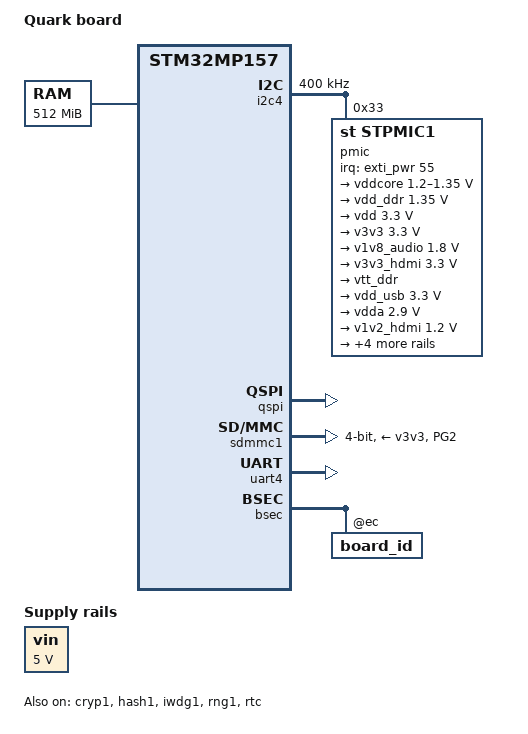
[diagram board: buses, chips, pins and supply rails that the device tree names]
// SPDX-License-Identifier: (GPL-2.0-or-later OR BSD-3-Clause)
/*
 * Copyright (C) 2026, STMicroelectronics - All Rights Reserved
 * Author: STM32CubeMX code generation for STMicroelectronics.
 */

/* For more information on Device Tree configuration, please refer to
 * https://wiki.st.com/stm32mpu/wiki/Category:Device_tree_configuration
 */

/dts-v1/;

#include <dt-bindings/pinctrl/stm32-pinfunc.h>
#include <dt-bindings/clock/stm32mp1-clksrc.h>
#include "stm32mp15-mx.dtsi"

#include "stm32mp157.dtsi"
#include "stm32mp15xc.dtsi"
#include "stm32mp15xxac-pinctrl.dtsi"
#include "stm32mp15-ddr.dtsi"

/* USER CODE BEGIN includes */
#include "stm32mp15-pinctrl.dtsi"
/* USER CODE END includes */

/ {
	model = "Quark board";
	compatible = "st,stm32mp157c-cube-mx", "st,stm32mp157";

	memory@c0000000 {
		device_type = "memory";
		reg = <0xc0000000 0x20000000>;

		/* USER CODE BEGIN memory */
		/* USER CODE END memory */
	};

	/* USER CODE BEGIN root */

	aliases{
		serial0 = &uart4;
		serial1 = &usart3;
		serial2 = &uart7;
		serial3 = &usart2;
	};

	vin:vin{
		compatible = "regulator-fixed";
		regulator-name = "vin";
		regulator-min-microvolt = <5000000>;
		regulator-max-microvolt = <5000000>;
		regulator-always-on;
	};

	chosen{
		stdout-path = "serial0:115200n8";
	};

	/* USER CODE END root */

	clocks {
		/* USER CODE BEGIN clocks */
		/* USER CODE END clocks */

		clk_hsi: clk-hsi {
			clock-frequency = <64000000>;

			/* USER CODE BEGIN clk_hsi */
			/* USER CODE END clk_hsi */
		};
		clk_lse: clk-lse {
			clock-frequency = <32768>;
			st,drive = < LSEDRV_MEDIUM_HIGH >;

			/* USER CODE BEGIN clk_lse */
			/* USER CODE END clk_lse */
		};
		clk_hse: clk-hse {
			clock-frequency = <24000000>;
			st,css;
			st,digbypass;

			/* USER CODE BEGIN clk_hse */
			/* USER CODE END clk_hse */
		};
	};

}; /*root*/

&pinctrl {
	/* USER CODE BEGIN pinctrl */
	rcc_pins_mx: rcc_mx-0 {
		pins {
			pinmux = <STM32_PINMUX('G', 2, AF1)>; /* RCC_MCO_2 */
			bias-disable;
			drive-push-pull;
			slew-rate = <0>;
		};
	};
	/* USER CODE END pinctrl */
};

&cryp1 {
	status = "okay";

	/* USER CODE BEGIN cryp1 */
	/* USER CODE END cryp1 */
};

&hash1 {
	status = "okay";

	/* USER CODE BEGIN hash1 */
	/* USER CODE END hash1 */
};

&i2c4 {
	pinctrl-names = "default";
	pinctrl-0 = <&i2c4_pins_a>;
	status = "okay";

	/* USER CODE BEGIN i2c4 */
	i2c-scl-rising-time-ns = <185>;
	i2c-scl-falling-time-ns = <20>;
	clock-frequency = <400000>;

	pmic: stpmic@33 {
		compatible = "st,stpmic1";
		reg = <0x33>;
		interrupts-extended = <&exti_pwr 55 IRQ_TYPE_EDGE_FALLING>;
		interrupt-controller;
		#interrupt-cells = <2>;
		status = "okay";

		regulators {
			compatible = "st,stpmic1-regulators";
			buck1-supply = <&vin>;
			buck2-supply = <&vin>;
			buck3-supply = <&vin>;
			buck4-supply = <&vin>;
			ldo1-supply = <&v3v3>;
			ldo2-supply = <&vin>;
			ldo3-supply = <&vdd_ddr>;
			ldo4-supply = <&vin>;
			ldo5-supply = <&vin>;
			ldo6-supply = <&v3v3>;
			vref_ddr-supply = <&vin>;
			boost-supply = <&vin>;
			pwr_sw1-supply = <&bst_out>;
			pwr_sw2-supply = <&bst_out>;

			vddcore: buck1 {
				regulator-name = "vddcore";
				regulator-min-microvolt = <1200000>;
				regulator-max-microvolt = <1350000>;
				regulator-always-on;
				regulator-initial-mode = <0>;
				regulator-over-current-protection;
			};

			vdd_ddr: buck2 {
				regulator-name = "vdd_ddr";
				regulator-min-microvolt = <1350000>;
				regulator-max-microvolt = <1350000>;
				regulator-always-on;
				regulator-initial-mode = <0>;
				regulator-over-current-protection;
			};

			vdd: buck3 {
				regulator-name = "vdd";
				regulator-min-microvolt = <3300000>;
				regulator-max-microvolt = <3300000>;
				regulator-always-on;
				st,mask-reset;
				regulator-initial-mode = <0>;
				regulator-over-current-protection;
			};

			v3v3: buck4 {
				regulator-name = "v3v3";
				regulator-min-microvolt = <3300000>;
				regulator-max-microvolt = <3300000>;
				regulator-always-on;
				regulator-over-current-protection;
				regulator-initial-mode = <0>;
			};

			v1v8_audio: ldo1 {
				regulator-name = "v1v8_audio";
				regulator-min-microvolt = <1800000>;
				regulator-max-microvolt = <1800000>;
				regulator-always-on;
			};

			v3v3_hdmi: ldo2 {
				regulator-name = "v3v3_hdmi";
				regulator-min-microvolt = <3300000>;
				regulator-max-microvolt = <3300000>;
				regulator-always-on;
			};

			vtt_ddr: ldo3 {
				regulator-name = "vtt_ddr";
				regulator-always-on;
				regulator-over-current-protection;
				st,regulator-sink-source;
			};

			vdd_usb: ldo4 {
				regulator-name = "vdd_usb";
				regulator-min-microvolt = <3300000>;
				regulator-max-microvolt = <3300000>;
			};

			vdda: ldo5 {
				regulator-name = "vdda";
				regulator-min-microvolt = <2900000>;
				regulator-max-microvolt = <2900000>;
				regulator-boot-on;
			};

			v1v2_hdmi: ldo6 {
				regulator-name = "v1v2_hdmi";
				regulator-min-microvolt = <1200000>;
				regulator-max-microvolt = <1200000>;
				regulator-always-on;
			};

			vref_ddr: vref_ddr {
				regulator-name = "vref_ddr";
				regulator-always-on;
			};

			bst_out: boost {
				regulator-name = "bst_out";
			};

			vbus_otg: pwr_sw1 {
				regulator-name = "vbus_otg";
			};

			vbus_sw: pwr_sw2 {
				regulator-name = "vbus_sw";
				regulator-active-discharge = <1>;
			};
		};
	};

	/* USER CODE END i2c4 */
};

&iwdg1 {
	status = "okay";

	/* USER CODE BEGIN iwdg1 */
	timeout-sec = <32>;

	/* USER CODE END iwdg1 */
};

&qspi {
	pinctrl-names = "default";
	pinctrl-0 = <&qspi_bk1_pins_a &qspi_bk2_pins_a
		&qspi_clk_pins_a
		&qspi_cs1_pins_a &qspi_cs2_pins_a>;
	status = "okay";

	/* USER CODE BEGIN qspi */
	/* USER CODE END qspi */
};

&rcc {
	status = "okay";
	/* USER CODE BEGIN rcc */
	compatible = "st,stm32mp1-rcc-secure", "st,stm32mp1-rcc", "syscon";

	/* USER CODE END rcc */
	st,clksrc = <
		CLK_CKPER_DISABLED
		CLK_QSPI_ACLK
		CLK_SDMMC12_PLL4P
		CLK_STGEN_HSE
		CLK_I2C46_HSI
		CLK_UART24_HSI
		CLK_MPU_PLL1P
		CLK_AXI_PLL2P
		CLK_MCU_PLL3P
		CLK_RTC_LSE
		CLK_MCO1_DISABLED
		CLK_MCO2_PLL4
	>;
	st,clkdiv = <
		DIV(DIV_MPU, 1)
		DIV(DIV_AXI, 0)
		DIV(DIV_MCU, 0)
		DIV(DIV_APB1, 1)
		DIV(DIV_APB2, 1)
		DIV(DIV_APB3, 1)
		DIV(DIV_APB4, 1)
		DIV(DIV_APB5, 2)
		DIV(DIV_RTC, 23)
		DIV(DIV_MCO1, 0)
		DIV(DIV_MCO2, 1)
	>;
	st,pll_vco {
		pll1_vco_1300Mhz: pll1-vco-1300Mhz {
			src = < CLK_PLL12_HSE >;
			divmn = < 2 80 >;
			frac = < 0x800 >;
		};
		pll2_vco_1066Mhz: pll2-vco-1066Mhz {
			src = < CLK_PLL12_HSE >;
			divmn = < 2 65 >;
			frac = < 0x1400 >;
		};
		pll3_vco_416Mhz: pll3-vco-416Mhz {
			src = < CLK_PLL3_HSE >;
			divmn = < 5 103 >;
		};
		pll4_vco_600Mhz: pll4-vco-600Mhz {
			src = < CLK_PLL4_HSE >;
			divmn = < 3 99 >;
		};
		/* USER CODE BEGIN rcc_st-pll_vco */
		/* USER CODE END rcc_st-pll_vco */
	};

	pll1:st,pll@0 {
		compatible = "st,stm32mp1-pll";
		reg = <0>;

		st,pll = < &pll1_cfg1 >;

		pll1_cfg1: pll1_cfg1 {
			st,pll_vco = < &pll1_vco_1300Mhz >;
			st,pll_div_pqr = < 0 1 1 >;
		};
		/* USER CODE BEGIN pll1 */
		/* USER CODE END pll1 */
	};

	pll2:st,pll@1 {
		compatible = "st,stm32mp1-pll";
		reg = <1>;

		st,pll = < &pll2_cfg1 >;

		pll2_cfg1: pll2_cfg1 {
			st,pll_vco = < &pll2_vco_1066Mhz >;
			st,pll_div_pqr = < 1 0 0 >;
		};
		/* USER CODE BEGIN pll2 */
		/* USER CODE END pll2 */
	};

	pll3:st,pll@2 {
		compatible = "st,stm32mp1-pll";
		reg = <2>;

		st,pll = < &pll3_cfg1 >;

		pll3_cfg1: pll3_cfg1 {
			st,pll_vco = < &pll3_vco_416Mhz >;
			st,pll_div_pqr = < 1 15 31 >;
		};
		/* USER CODE BEGIN pll3 */
		/* USER CODE END pll3 */
	};

	pll4:st,pll@3 {
		compatible = "st,stm32mp1-pll";
		reg = <3>;

		st,pll = < &pll4_cfg1 >;

		pll4_cfg1: pll4_cfg1 {
			st,pll_vco = < &pll4_vco_600Mhz >;
			st,pll_div_pqr = < 5 7 7 >;
		};
		/* USER CODE BEGIN pll4 */
		/* USER CODE END pll4 */
	};

	st,rcc{
		status = "okay";

		/* USER CODE BEGIN rcc_st-rcc */
		/* USER CODE END rcc_st-rcc */
	};
};

&sdmmc1 {
	pinctrl-names = "default";
	pinctrl-0 = <&sdmmc1_b4_pins_a &rcc_pins_mx>;
	status = "okay";

	/* USER CODE BEGIN sdmmc1 */
	disable-wp;
	st,neg-edge;
	bus-width = <4>;
	vmmc-supply = <&v3v3>;

	/* USER CODE END sdmmc1 */
};

&uart4 {
	pinctrl-names = "default";
	pinctrl-0 = <&uart4_pins_a>;
	status = "okay";

	/* USER CODE BEGIN uart4 */
	/* USER CODE END uart4 */
};

/* USER CODE BEGIN addons */

&bsec {

	board_id:board_id@ec{
		reg = <0xec 0x4>;
		st,non-secure-otp;
	};
};

&cpu0 {
	cpu-supply = <&vddcore>;
};

&cpu1 {
	cpu-supply = <&vddcore>;
};

&ddr {
	vdd-supply = <&vdd_ddr>;
	vtt-supply = <&vtt_ddr>;
	vref-supply = <&vref_ddr>;
};

&pwr_regulators {
	vdd-supply = <&vdd>;
	vdd_3v3_usbfs-supply = <&vdd_usb>;
};

&rng1 {
	status = "okay";
};

&rtc {
	status = "okay";
};

/* USER CODE END addons */

